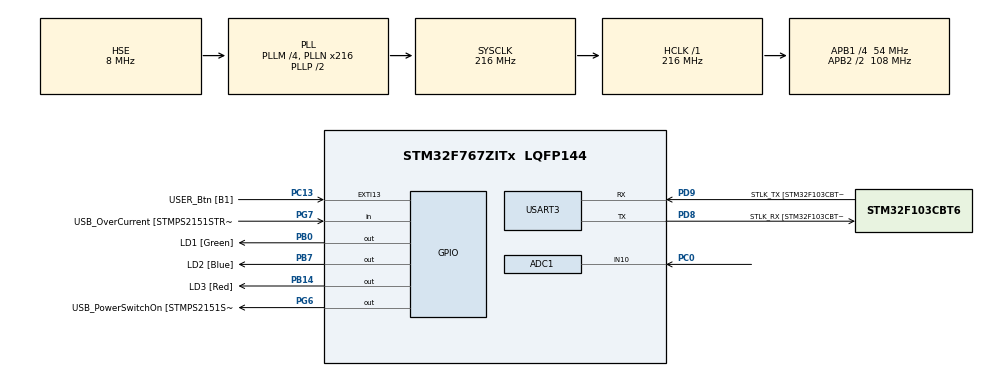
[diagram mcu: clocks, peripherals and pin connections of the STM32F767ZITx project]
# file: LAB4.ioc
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Mcu.Family=STM32F7
FREERTOS.Queues01=myQueue01,16,uint16_t,0,Dynamic,NULL,NULL
RCC.CortexFreq_Value=216000000
PG6.Signal=GPIO_Output
ADC1.ContinuousConvMode=ENABLE
PB14.GPIO_Label=LD3 [Red]
PG6.GPIO_Label=USB_PowerSwitchOn [STMPS2151STR_EN]
PA14.GPIO_Label=TCK
RCC.SYSCLKSourceVirtual=RCC_SYSCLKSOURCE_PLLCLK
PB0.GPIO_Label=LD1 [Green]
PC14/OSC32_IN.Mode=LSE-External-Oscillator
PC13.GPIO_Label=USER_Btn [B1]
PB13.GPIO_Label=RMII_TXD1 [LAN8742A-CZ-TR_TXD1]
PB13.Signal=ETH_TXD1
PG13.Signal=ETH_TXD0
PD9.Mode=Asynchronous
PG11.Signal=ETH_TX_EN
RCC.SYSCLKSource=RCC_SYSCLKSOURCE_PLLCLK
ProjectManager.StackSize=0x400
VP_FREERTOS_VS_CMSIS_V2.Mode=CMSIS_V2
USART3.VirtualMode-Asynchronous=VM_ASYNC
PA12.Signal=USB_OTG_FS_DP
PH0/OSC_IN.Mode=HSE-External-Clock-Source
RCC.HCLKFreq_Value=216000000
RCC.APB2TimFreq_Value=216000000
PH1/OSC_OUT.Signal=RCC_OSC_OUT
PD8.Signal=USART3_TX
RCC.AHBFreq_Value=216000000
NVIC.EXTI15_10_IRQn=true\:5\:0\:false\:false\:true\:true\:true\:true
ADC1.Channel-0\#ChannelRegularConversion=ADC_CHANNEL_10
RCC.HSE_VALUE=8000000
NVIC.TIM8_TRG_COM_TIM14_IRQn=true\:0\:0\:false\:false\:true\:false\:false\:true
RCC.PLLMUL=RCC_PLL_MUL9
PC4.GPIO_Label=RMII_RXD0 [LAN8742A-CZ-TR_RXD0]
PA14.Mode=Serial_Wire
PA10.GPIO_Label=USB_ID
PB7.Signal=GPIO_Output
PA8.Signal=USB_OTG_FS_SOF
VP_SYS_VS_tim14.Mode=TIM14
PH1/OSC_OUT.Mode=HSE-External-Clock-Source
ADC1.SamplingTime-0\#ChannelRegularConversion=ADC_SAMPLETIME_3CYCLES
PB7.GPIO_Label=LD2 [Blue]
Mcu.Package=LQFP144
NVIC.TimeBase=TIM8_TRG_COM_TIM14_IRQn
PC14/OSC32_IN.Signal=RCC_OSC32_IN
PA2.GPIO_Label=RMII_MDIO [LAN8742A-CZ-TR_MDIO]
NVIC.TimeBaseIP=TIM14
PA10.Signal=USB_OTG_FS_ID
RCC.APB2CLKDivider=RCC_HCLK_DIV2
RCC.APB1TimFreq_Value=108000000
PG11.GPIO_Label=RMII_TX_EN [LAN8742A-CZ-TR_TXEN]
PC5.Signal=ETH_RXD1
ADC1.EOCSelection=ADC_EOC_SEQ_CONV
PB3.GPIO_Label=SWO
RCC.PLLSourceVirtual=RCC_PLLSOURCE_HSE
FREERTOS.Tasks01=defaultTask,24,128,StartDefaultTask,Default,NULL,Dynamic,NULL,NULL;myTask02,8,2048,StartTask02,Default,NULL,Dynamic,NULL,NULL
ADC1.Rank-0\#ChannelRegularConversion=1
PG7.Signal=GPIO_Input
PD9.GPIO_Label=STLK_TX [STM32F103CBT6_PA2]
PC13.Signal=GPXTI13
PA9.GPIO_Label=USB_VBUS
PC4.Signal=ETH_RXD0
PA11.GPIO_Label=USB_DM
PD9.Signal=USART3_RX
PC0.Signal=ADCx_IN10
RCC.APB1CLKDivider=RCC_HCLK_DIV4
PG13.GPIO_Label=RMII_TXD0 [LAN8742A-CZ-TR_TXD0]
PA12.GPIO_Label=USB_DP
PD8.GPIO_Label=STLK_RX [STM32F103CBT6_PA3]
PA13.Signal=SYS_JTMS-SWDIO
PA8.GPIO_Label=USB_SOF [TP1]
ProjectManager.TargetToolchain=STM32CubeIDE
PA9.Signal=USB_OTG_FS_VBUS
RCC.USBFreq_Value=48000000
PD8.Mode=Asynchronous
PA1.Signal=ETH_REF_CLK
PB14.Signal=GPIO_Output
board=NUCLEO-F767ZI
RCC.VCOOutputFreq_Value=432000000
PH0/OSC_IN.Signal=RCC_OSC_IN
RCC.APB2Freq_Value=108000000
RCC.PRESCALERUSB=RCC_USBCLKSOURCE_PLL_DIV1_5
PG7.GPIO_Label=USB_OverCurrent [STMPS2151STR_FAULT]
PA1.GPIO_Label=RMII_REF_CLK [LAN8742A-CZ-TR_REFCLK0]
PC1.GPIO_Label=RMII_MDC [LAN8742A-CZ-TR_MDC]
PA13.Mode=Serial_Wire
Mcu.Name=STM32F767ZITx
PA2.Signal=ETH_MDIO
PA13.GPIO_Label=TMS
RCC.48MHZClocksFreq_Value=24000000
PB3.Signal=SYS_JTDO-SWO
RCC.SYSCLKFreq_VALUE=216000000
PA7.GPIO_Label=RMII_CRS_DV [LAN8742A-CZ-TR_CRS_DV]
ADC1.master=1
PC5.GPIO_Label=RMII_RXD1 [LAN8742A-CZ-TR_RXD1]
PC15/OSC32_OUT.Mode=LSE-External-Oscillator
PA11.Signal=USB_OTG_FS_DM
PA14.Signal=SYS_JTCK-SWCLK
SH.ADCx_IN10.0=ADC1_IN10,IN10
ProjectManager.HeapSize=0x200
RCC.HSI_VALUE=16000000
PH0/OSC_IN.GPIO_Label=MCO [STM32F103CBT6_PA8]
FREERTOS.Mutexes01=myMutex01,Dynamic,NULL
RCC.PLLQ=9
NVIC.PriorityGroup=NVIC_PRIORITYGROUP_4
ADC1.NbrOfConversionFlag=1
RCC.PLLM=4
RCC.PLLN=216
PC15/OSC32_OUT.Signal=RCC_OSC32_OUT
RCC.APB1Freq_Value=54000000
PB0.Signal=GPIO_Output
PC1.Signal=ETH_MDC
PA7.Signal=ETH_CRS_DV

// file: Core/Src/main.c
/* USER CODE BEGIN Header */
/**
  ******************************************************************************
  * @file           : main.c
  * @brief          : Main program body
  ******************************************************************************
  * @attention
  *
  * <h2><center>&copy; Copyright (c) 2021 STMicroelectronics.
  * All rights reserved.</center></h2>
  *
  * This software component is licensed by ST under BSD 3-Clause license,
  * the "License"; You may not use this file except in compliance with the
  * License. You may obtain a copy of the License at:
  *                        opensource.org/licenses/BSD-3-Clause
  *
  ******************************************************************************
  */
/* USER CODE END Header */
#include "main.h"
#include "cmsis_os.h"
#include "adc.h"
#include "usart.h"
#include "gpio.h"

void SystemClock_Config(void);
void MX_FREERTOS_Init(void);

int main(void)
{

  /* MCU Configuration--------------------------------------------------------*/

  /* Reset of all peripherals, Initializes the Flash interface and the Systick. */
  HAL_Init();

  /* Configure the system clock */
  SystemClock_Config();

  /* Initialize all configured peripherals */
  MX_GPIO_Init();
  MX_USART3_UART_Init();
  MX_ADC1_Init();

  /* Init scheduler */
  osKernelInitialize();  /* Call init function for freertos objects (in freertos.c) */
  MX_FREERTOS_Init();
  /* Start scheduler */
  osKernelStart();

  /* We should never get here as control is now taken by the scheduler */
  /* Infinite loop */
  while (1)
  {

  }
}

void SystemClock_Config(void)
{
  RCC_OscInitTypeDef RCC_OscInitStruct = {0};
  RCC_ClkInitTypeDef RCC_ClkInitStruct = {0};
  RCC_PeriphCLKInitTypeDef PeriphClkInitStruct = {0};

  /** Configure LSE Drive Capability
  */
  HAL_PWR_EnableBkUpAccess();
  /** Configure the main internal regulator output voltage
  */
  __HAL_RCC_PWR_CLK_ENABLE();
  __HAL_PWR_VOLTAGESCALING_CONFIG(PWR_REGULATOR_VOLTAGE_SCALE1);
  /** Initializes the RCC Oscillators according to the specified parameters
  * in the RCC_OscInitTypeDef structure.
  */
  RCC_OscInitStruct.OscillatorType = RCC_OSCILLATORTYPE_HSE;
  RCC_OscInitStruct.HSEState = RCC_HSE_BYPASS;
  RCC_OscInitStruct.PLL.PLLState = RCC_PLL_ON;
  RCC_OscInitStruct.PLL.PLLSource = RCC_PLLSOURCE_HSE;
  RCC_OscInitStruct.PLL.PLLM = 4;
  RCC_OscInitStruct.PLL.PLLN = 216;
  RCC_OscInitStruct.PLL.PLLP = RCC_PLLP_DIV2;
  RCC_OscInitStruct.PLL.PLLQ = 9;
  if (HAL_RCC_OscConfig(&RCC_OscInitStruct) != HAL_OK)
  {
    Error_Handler();
  }
  /** Activate the Over-Drive mode
  */
  if (HAL_PWREx_EnableOverDrive() != HAL_OK)
  {
    Error_Handler();
  }
  /** Initializes the CPU, AHB and APB buses clocks
  */
  RCC_ClkInitStruct.ClockType = RCC_CLOCKTYPE_HCLK|RCC_CLOCKTYPE_SYSCLK
                              |RCC_CLOCKTYPE_PCLK1|RCC_CLOCKTYPE_PCLK2;
  RCC_ClkInitStruct.SYSCLKSource = RCC_SYSCLKSOURCE_PLLCLK;
  RCC_ClkInitStruct.AHBCLKDivider = RCC_SYSCLK_DIV1;
  RCC_ClkInitStruct.APB1CLKDivider = RCC_HCLK_DIV4;
  RCC_ClkInitStruct.APB2CLKDivider = RCC_HCLK_DIV2;

  if (HAL_RCC_ClockConfig(&RCC_ClkInitStruct, FLASH_LATENCY_7) != HAL_OK)
  {
    Error_Handler();
  }
  PeriphClkInitStruct.PeriphClockSelection = RCC_PERIPHCLK_USART3;
  PeriphClkInitStruct.Usart3ClockSelection = RCC_USART3CLKSOURCE_PCLK1;
  if (HAL_RCCEx_PeriphCLKConfig(&PeriphClkInitStruct) != HAL_OK)
  {
    Error_Handler();
  }
}

 /**
  * @brief  Period elapsed callback in non blocking mode
  * @note   This function is called  when TIM14 interrupt took place, inside
  * HAL_TIM_IRQHandler(). It makes a direct call to HAL_IncTick() to increment
  * a global variable "uwTick" used as application time base.
  * @param  htim : TIM handle
  * @retval None
  */
void HAL_TIM_PeriodElapsedCallback(TIM_HandleTypeDef *htim)
{
  if (htim->Instance == TIM14) {
    HAL_IncTick();
  }
}

void Error_Handler(void)
{
  __disable_irq();
  while (1)
  {
  }
}

/************************ (C) COPYRIGHT STMicroelectronics *****END OF FILE****/

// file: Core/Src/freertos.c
/* USER CODE BEGIN Header */
/**
  ******************************************************************************
  * File Name          : freertos.c
  * Description        : Code for freertos applications
  ******************************************************************************
  * @attention
  *
  * <h2><center>&copy; Copyright (c) 2021 STMicroelectronics.
  * All rights reserved.</center></h2>
  *
  * This software component is licensed by ST under Ultimate Liberty license
  * SLA0044, the "License"; You may not use this file except in compliance with
  * the License. You may obtain a copy of the License at:
  *                             www.st.com/SLA0044
  *
  ******************************************************************************
  */
/* USER CODE END Header */

#include "FreeRTOS.h"
#include "task.h"
#include "main.h"
#include "cmsis_os.h"

/* USER CODE BEGIN Includes */
#include "stdio.h"

/* USER CODE END Includes */

/* USER CODE BEGIN PTD */

typedef struct {
    float    voltage;   /* AD result of measured voltage */
    float    current;   /* AD result of measured current */
    uint32_t counter;   /* A counter value               */
} message_t;

/* USER CODE END PTD */

/* USER CODE BEGIN Variables */
extern UART_HandleTypeDef huart3;
extern ADC_HandleTypeDef hadc1;

/* USER CODE END Variables */
/* Definitions for defaultTask */
osThreadId_t defaultTaskHandle;
const osThreadAttr_t defaultTask_attributes = {
  .name = "defaultTask",
  .stack_size = 128 * 4,
  .priority = (osPriority_t) osPriorityNormal,
};
/* Definitions for myTask02 */
osThreadId_t myTask02Handle;
const osThreadAttr_t myTask02_attributes = {
  .name = "myTask02",
  .stack_size = 2048,
  .priority = (osPriority_t) osPriorityLow,
};
/* Definitions for myQueue01 */
osMessageQueueId_t myQueue01Handle;
const osMessageQueueAttr_t myQueue01_attributes = {
  .name = "myQueue01"
};
/* Definitions for myMutex01 */
osMutexId_t myMutex01Handle;
const osMutexAttr_t myMutex01_attributes = {
  .name = "myMutex01"
};

/* USER CODE BEGIN FunctionPrototypes */

#ifdef __GNUC__
/* With GCC/RAISONANCE, small printf (option LD Linker->Libraries->Small printf
   set to 'Yes') calls __io_putchar() */
#define PUTCHAR_PROTOTYPE int __io_putchar(int ch)
#else
#define PUTCHAR_PROTOTYPE int fputc(int ch, FILE *f)
#endif /* __GNUC__ */

/**
  * @brief  Retargets the C library printf function to the USART.
  * @param  None
  * @retval None
  */
PUTCHAR_PROTOTYPE
{
  /* Place your implementation of fputc here */
  /* e.g. write a character to the EVAL_COM1 and Loop until the end of transmission */
  HAL_UART_Transmit(&huart3, (uint8_t *)&ch, 1, 0xFFFF);
  while (HAL_UART_GetState(&huart3) != HAL_UART_STATE_READY);

  return ch;
}

/* USER CODE END FunctionPrototypes */

void StartDefaultTask(void *argument);
void StartTask02(void *argument);

void MX_FREERTOS_Init(void); /* (MISRA C 2004 rule 8.1) */

void MX_FREERTOS_Init(void) {
  /* Create the mutex(es) */
  /* creation of myMutex01 */
  myMutex01Handle = osMutexNew(&myMutex01_attributes);

  /* Create the queue(s) */
  /* creation of myQueue01 */
  myQueue01Handle = osMessageQueueNew(1, sizeof(message_t), &myQueue01_attributes);

  /* Create the thread(s) */
  /* creation of defaultTask */
  defaultTaskHandle = osThreadNew(StartDefaultTask, NULL, &defaultTask_attributes);

  /* creation of myTask02 */
  myTask02Handle = osThreadNew(StartTask02, NULL, &myTask02_attributes);

}

void StartDefaultTask(void *argument)
{
  /* USER CODE BEGIN StartDefaultTask */
	uint32_t i = 0;
	__IO uint16_t adcValue = 0;
	/* ADC 변환 시작 */
	if (HAL_ADC_Start(&hadc1) != HAL_OK)
	{
		/* ADC 변환 시작 오류 */
		Error_Handler();
	}
	  message_t message_ADC;

  /* Infinite loop */
  for(;;)
  {
	  i++;
	  /* 변환 종료 대기 */
	  if (HAL_ADC_PollForConversion(&hadc1, 10) != HAL_OK)
	  {
		  // 변환 종료 플래그가 제 시간에 설정되지 않음
		  Error_Handler();
	  }
	  else
	  {
		  // ADC 변환 완료 후 결과 획득
		  adcValue = HAL_ADC_GetValue(&hadc1);
	  }

	  message_ADC.voltage = (adcValue / 4096. * 0.1) * 33;
	  message_ADC.current = (i * 0.001) * 11;
	  message_ADC.counter = i;
	  osMessageQueuePut(myQueue01Handle, &message_ADC, 0, osWaitForever);
	  osDelay(1000);
  }
  /* USER CODE END StartDefaultTask */
}

void StartTask02(void *argument)
{
  /* USER CODE BEGIN StartTask02 */
	  message_t message;
  /* Infinite loop */
  for(;;)
  {
	  osMessageQueueGet(myQueue01Handle, &message, NULL, osWaitForever);
	  printf("\n%u: Voltage: %.2f V, Current: %.2f A\r\n",
	              (unsigned int)message.counter, message.voltage, message.current);
	  osDelay(1);
  }
  /* USER CODE END StartTask02 */
}

/************************ (C) COPYRIGHT STMicroelectronics *****END OF FILE****/
